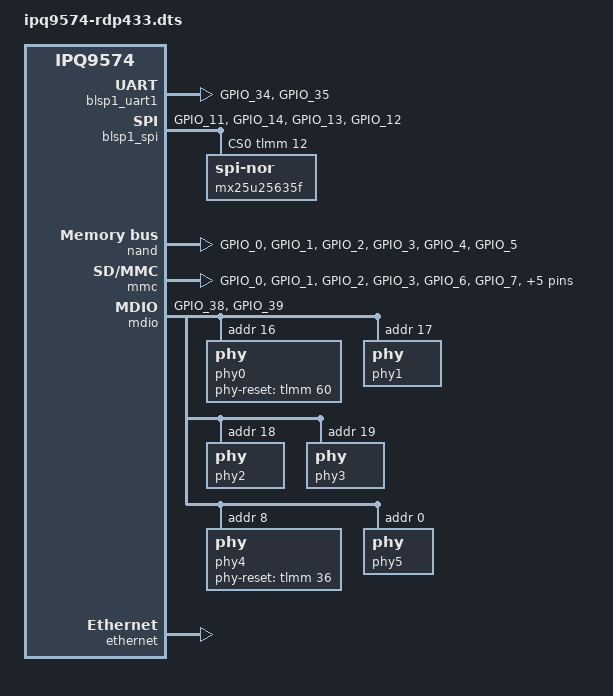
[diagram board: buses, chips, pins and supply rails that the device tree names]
// SPDX-License-Identifier: GPL-2.0-only
/*
* Copyright (c) 2023, Qualcomm Innovation Center, Inc. All rights reserved.
*/

/dts-v1/;

#include "ipq9574.dtsi"

/ {
	config_name = "config@al02-c4","config@rdp433", "config-rdp433";

	aliases {
		console = &blsp1_uart1;
		sdhci = &mmc;
	};

	soc: soc {
		tlmm: pinctrl@1000000 {

			sdhci_pinmux: mmc {
				emmc_data {
					pins = "GPIO_0", "GPIO_1", "GPIO_2",
						"GPIO_3", "GPIO_6", "GPIO_7",
						"GPIO_8", "GPIO_9";
					function = "sdc";
					drive-strength = <DRIVE_STRENGTH_8MA>;
					bias-pull-up;
				};

				emmc_cmd{
					pins = "GPIO_4";
					function = "sdc";
					drive-strength = <DRIVE_STRENGTH_8MA>;
					bias-pull-up;
				};

				emmc_clk{
					pins = "GPIO_5";
					function = "sdc";
					drive-strength = <DRIVE_STRENGTH_8MA>;
					bias-disable;
				};

				emmc_rclk{
					pins = "GPIO_10";
					function = "sdc";
					drive-strength = <DRIVE_STRENGTH_8MA>;
					bias-pull-down;
				};
			};

			qspi_pinmux: nand {
				qspi_data {
					pins = "GPIO_0", "GPIO_1", "GPIO_2",
						"GPIO_3";
					function = "qspi";
					drive-strength = <DRIVE_STRENGTH_8MA>;
					bias-disable;
				};

				qspi_cs_n {
					pins = "GPIO_4";
					function = "qspi";
					drive-strength = <DRIVE_STRENGTH_8MA>;
					bias-disable;
				};

				qspi_clk {
					pins = "GPIO_5";
					function = "qspi";
					drive-strength = <DRIVE_STRENGTH_8MA>;
					bias-disable;
				};
			};

			serial_pinmux: uart {
				data {
					pins = "GPIO_34", "GPIO_35";
					function = "blsp0_uart0";
					drive-strength = <DRIVE_STRENGTH_8MA>;
					bias-pull-up;
				};
			};

			blsp1_spi_pinmux: blsp1_spi_pins {
				blsp0_spi_clk {
					pins = "GPIO_11";
					function = "blsp0_spi";
					drive-strength = <DRIVE_STRENGTH_8MA>;
					bias-disable;
				};

				blsp0_spi_mosi {
					pins = "GPIO_14";
					function = "blsp0_spi";
					drive-strength = <DRIVE_STRENGTH_8MA>;
					bias-disable;
				};

				blsp0_spi_miso {
					pins = "GPIO_13";
					function = "blsp0_spi";
					drive-strength = <DRIVE_STRENGTH_8MA>;
					bias-disable;
				};

				blsp0_spi_cs {
					pins = "GPIO_12";
					function = "blsp0_spi";
					drive-strength = <DRIVE_STRENGTH_8MA>;
					bias-pull-up;
				};

			};

			mdio_pinmux: mdio {
				mdc {
					pins = "GPIO_38";
					function = "mdc";
					drive-strength = <DRIVE_STRENGTH_8MA>;
					bias-disable;
				};

				mdio {
					pins = "GPIO_39";
					function = "mdio";
					drive-strength = <DRIVE_STRENGTH_8MA>;
					bias-pull-up;
				};
			};

			phy_rst_pinmux: phy_rst {
				qti_8085_rst {
					pins = "GPIO_60";
					drive-strength = <DRIVE_STRENGTH_8MA>;
					bias-pull-up;
				};

				qti_aquantia_rst {
					pins = "GPIO_36";
					drive-strength = <DRIVE_STRENGTH_8MA>;
					bias-pull-up;
				};
			};
		};


		blsp1_uart1: serial@78B1000 {
			pinctrl-names = "uart";
			pinctrl-0 = <&serial_pinmux>;
			status = "okay";
		};

		blsp1_spi: spi@78b5000 {
			pinctrl-names = "default";
			pinctrl-0 = <&blsp1_spi_pinmux>;
			cs-gpios = <&tlmm 12 0>;
			force-cs;
			status = "okay";

			mx25u25635f@0 {
				compatible = "jedec,spi-nor";
				reg = <0>;
			};
		};

		nand: nand-controller@79B0000 {
			pinctrl-names = "default";
			pinctrl-0 = <&qspi_pinmux>;
			status = "okay";
		};

		mmc: sdhci@7800000 {
			pinctrl-names = "mmc";
			pinctrl-0 = <&sdhci_pinmux>;
			status = "okay";
		};

		mdio: mdio@90000 {
			pinctrl-names = "mdio";
			pinctrl-0 = <&mdio_pinmux>;
			status = "okay";

			phy0: phy@16 {
				phy-reset-gpio = <&tlmm 60 0>;
				reg = <16>;
				phy_id = <0>;
				id = <1>;
				uniphy_id = <0>;
				uniphy_type = <0>;
			};

			phy1: phy@17 {
				reg = <17>;
				phy_id = <0>;
				id = <2>;
				uniphy_id = <0>;
				uniphy_type = <0>;
			};

			phy2: phy@18 {
				reg = <18>;
				phy_id = <0>;
				id = <3>;
				uniphy_id = <0>;
				uniphy_type = <0>;
			};

			phy3: phy@19 {
				reg = <19>;
				phy_id = <0>;
				id = <4>;
				uniphy_id = <0>;
				uniphy_type = <0>;
			};

			phy4: phy@8 {
				phy-reset-gpio = <&tlmm 36 0>;
				reg = <8>;
				phy_id = <2>;
				phy-mode = "usxgmii";
				id = <5>;
				uniphy_id = <1>;
				uniphy_type = <1>;
				xgmac;
			};

			phy5: phy@0 {
				reg = <0>;
				phy-mode = "usxgmii";
				phy_id = <2>;
				id = <6>;
				uniphy_id = <2>;
				uniphy_type = <0>;
				xgmac;
			};
		};

		ethernet: nss-switch {
			phy-handle0 = <&phy0>;
			phy-handle1 = <&phy1>;
			phy-handle2 = <&phy2>;
			phy-handle3 = <&phy3>;
			phy-handle4 = <&phy4>;
			phy-handle5 = <&phy5>;
			status = "okay";
		};
	};
};
